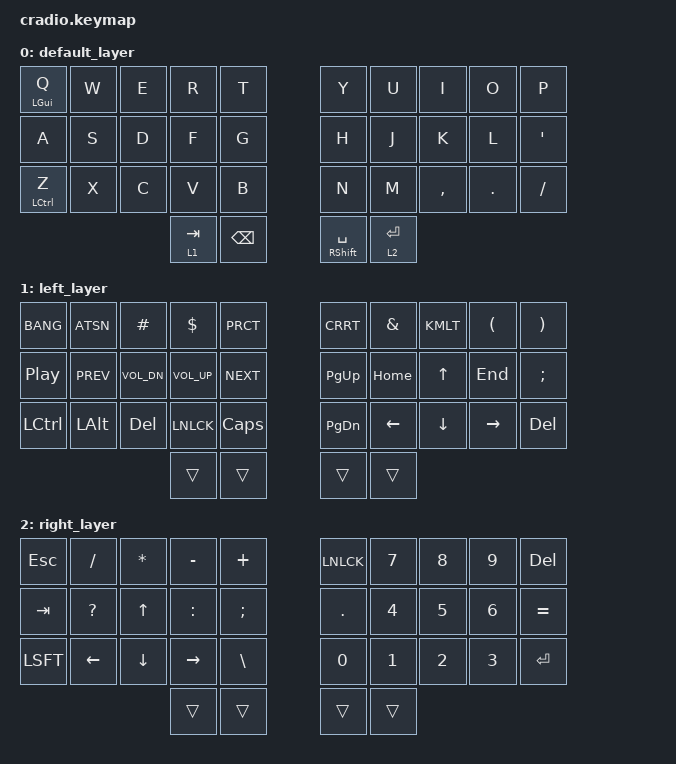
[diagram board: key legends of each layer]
/*
 * Copyright (c) 2020 The ZMK Contributors
 *
 * SPDX-License-Identifier: MIT
 */

#include <behaviors.dtsi>
#include <dt-bindings/zmk/keys.h>
#include <dt-bindings/zmk/bt.h>


&mt {
  //  flavor = "tap-preferred";
   // tapping_term_ms = <200>;
};

/ { 

    combos {
        compatible = "zmk,combos";
        combo_esc {
            timeout-ms = <50>;
            key-positions = <0 1>;
            bindings = <&kp ESC>;
        };

         combo_tab {
            timeout-ms = <50>;
            key-positions = <10 11>;
            bindings = <&kp TAB>;
        };

            combo_ralt {
            timeout-ms = <50>;
            key-positions = <17 16>;
            bindings = <&kp RALT>;
        };

                    combo_lalt {
            timeout-ms = <50>;
            key-positions = <11 12>;
            bindings = <&kp LALT>;
        };

                           combo_lgui {
            timeout-ms = <50>;
            key-positions = <12 13>;
            bindings = <&kp LGUI>;
        };


           combo_rgui {
            timeout-ms = <50>;
            key-positions = <17 18>;
            bindings = <&kp RGUI>;
        };



    };

        keymap {
                compatible = "zmk,keymap";

       		default_layer {
		bindings = <
		&mt LGUI Q &kp W &kp E &kp R &kp T 						&kp Y &kp U  &kp I    &kp O   &kp P 
		&kp A &kp S &kp D &kp F &kp G 			        	        &kp H &kp J &kp K &kp L &kp QUOT
		&mt LCTRL Z &kp X &kp C &kp V &kp B				        &kp N &kp M  &kp CMMA &kp DOT &kp FSLH
          				&lt 1 TAB &kp BKSP  				&mt RSHIFT SPC &lt 2 RET 
		>;
		};

       		left_layer {
		bindings = <
		&kp BANG  &kp ATSN &kp HASH  &kp DLLR  &kp PRCT    			&kp CRRT  &kp AMPS &kp KMLT &kp LPRN &kp RPRN  
		&kp C_PP    &kp C_PREV    &kp C_VOL_DN      &kp C_VOL_UP     &kp C_NEXT 		&kp PG_UP &kp HOME  &kp UP &kp END  &kp SEMI 
		&kp LCTRL    &kp LALT 	&kp DEL &kp LNLCK  &kp CAPS 	&kp PG_DN &kp LEFT &kp DOWN &kp RIGHT  &kp DEL 
					    &trans  &trans  					&trans &trans 
		>;
		};

		right_layer {
		bindings = <
		&kp ESC  &kp FSLH &kp STAR  &kp MINUS  &kp PLUS    			&kp LNLCK  &kp NUM_7 &kp NUM_8 &kp NUM_9 &kp DEL 
		&kp TAB  &kp QMARK  &kp UP  &kp COLN  &kp SCLN 			&kp DOT &kp NUM_4  &kp NUM_5  &kp NUM_6   &kp EQL
		&kp LSFT  &kp LEFT &kp DOWN &kp RIGHT   &kp BSLH    			&kp NUM_0 &kp NUM_1 &kp NUM_2 &kp NUM_3  &kp RET
					  &trans &trans  				&trans  &trans 
		>;
		};		

	};
};
